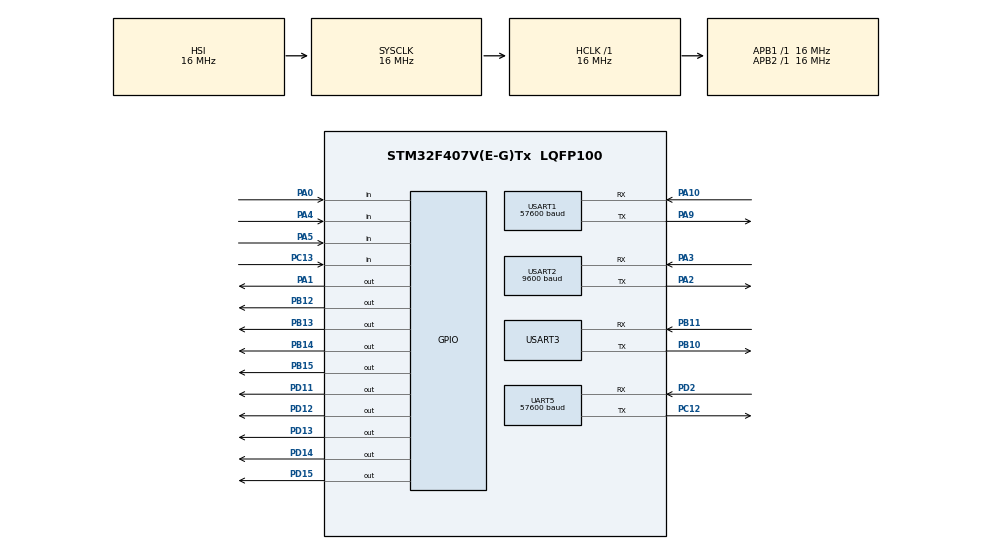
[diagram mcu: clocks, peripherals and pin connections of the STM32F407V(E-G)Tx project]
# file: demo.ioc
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Mcu.Family=STM32F4
Mcu.Name=STM32F407V(E-G)Tx
Mcu.Package=LQFP100
NVIC.PriorityGroup=NVIC_PRIORITYGROUP_4
NVIC.UART5_IRQn=true\:0\:0\:false\:false\:true\:true\:true\:true
NVIC.USART1_IRQn=true\:0\:0\:false\:false\:true\:true\:true\:true
NVIC.USART2_IRQn=true\:0\:0\:false\:false\:true\:true\:true\:true
NVIC.USART3_IRQn=true\:0\:0\:false\:false\:true\:true\:true\:true
PA0-WKUP.Signal=GPIO_Input
PA1.Signal=GPIO_Output
PA10.Mode=Asynchronous
PA10.Signal=USART1_RX
PA13.Mode=Serial_Wire
PA13.Signal=SYS_JTMS-SWDIO
PA14.Mode=Serial_Wire
PA14.Signal=SYS_JTCK-SWCLK
PA2.Mode=Asynchronous
PA2.Signal=USART2_TX
PA3.Mode=Asynchronous
PA3.Signal=USART2_RX
PA4.Signal=GPIO_Input
PA5.Signal=GPIO_Input
PA9.Mode=Asynchronous
PA9.Signal=USART1_TX
PB10.Mode=Asynchronous
PB10.Signal=USART3_TX
PB11.Mode=Asynchronous
PB11.Signal=USART3_RX
PB12.Signal=GPIO_Output
PB13.Signal=GPIO_Output
PB14.Signal=GPIO_Output
PB15.Signal=GPIO_Output
PC12.Mode=Asynchronous
PC12.Signal=UART5_TX
PC13-ANTI_TAMP.Signal=GPIO_Input
PC14-OSC32_IN.Mode=LSE-External-Oscillator
PC14-OSC32_IN.Signal=RCC_OSC32_IN
PC15-OSC32_OUT.Mode=LSE-External-Oscillator
PC15-OSC32_OUT.Signal=RCC_OSC32_OUT
PD11.Signal=GPIO_Output
PD12.Signal=GPIO_Output
PD13.Signal=GPIO_Output
PD14.Signal=GPIO_Output
PD15.Signal=GPIO_Output
PD2.Mode=Asynchronous
PD2.Signal=UART5_RX
PH0-OSC_IN.Mode=HSE-External-Oscillator
PH0-OSC_IN.Signal=RCC_OSC_IN
PH1-OSC_OUT.Mode=HSE-External-Oscillator
PH1-OSC_OUT.Signal=RCC_OSC_OUT
ProjectManager.HeapSize=0x200
ProjectManager.StackSize=0x400
ProjectManager.TargetToolchain=STM32CubeIDE
RCC.AHBFreq_Value=16000000
RCC.APB1Freq_Value=16000000
RCC.APB2Freq_Value=16000000
RCC.CortexFreq_Value=16000000
RCC.HSE_VALUE=25000000
RCC.HSI_VALUE=16000000
RCC.SYSCLKFreq_VALUE=16000000
RCC.VCOOutputFreq_Value=192000000
UART5.BaudRate=57600
UART5.VirtualMode=Asynchronous
USART1.BaudRate=57600
USART1.VirtualMode=VM_ASYNC
USART2.BaudRate=9600
USART2.VirtualMode=VM_ASYNC
USART3.VirtualMode=VM_ASYNC
board=custom

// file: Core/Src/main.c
/* USER CODE BEGIN Header */
/**
  ******************************************************************************
  * @file           : main.c
  * @brief          : Main program body
  ******************************************************************************
  * @attention
  *
  * Copyright (c) 2024 STMicroelectronics.
  * All rights reserved.
  *
  * This software is licensed under terms that can be found in the LICENSE file
  * in the root directory of this software component.
  * If no LICENSE file comes with this software, it is provided AS-IS.
  *
  ******************************************************************************
  */
/* USER CODE END Header */
#include "main.h"

/* USER CODE BEGIN Includes */
#include "stdlib.h"
#include "lcd.h"
#include "string.h"
/* USER CODE END Includes */

/* USER CODE BEGIN PD */
 #define FP_OK 0x00
 #define FP_ERROR 0xFE
 #define FP_NOFINGER 0x02
 #define FP_FINGER_NOTMATCH 0x0A
 #define FP_FINGER_NOTMATCH 0x0A
 #define FP_FINGER_NOTFOUND 0x09

// Định nghĩa chân kết nối ESP32
#define ESP32_TX_PIN GPIO_PIN_10
#define ESP32_TX_PORT GPIOB

#define ESP32_RX_PIN GPIO_PIN_11
#define ESP32_RX_PORT GPIOB

/* USER CODE END PD */

UART_HandleTypeDef huart5;
UART_HandleTypeDef huart1;
UART_HandleTypeDef huart2;
UART_HandleTypeDef huart3; // UART cho ESP32

/* USER CODE BEGIN PV */
uint8_t FPHeader[6]={0xEF,0x01,0xFF,0xFF,0xFF,0xFF};
uint8_t FPGetImage[6]={0x01,0x00,0x03,0x01,0x00,0x05};
uint8_t FPCreateCharFile1[7]={0x01,0x00,0x04,0x02,0x01,0x00,0x08};
uint8_t FPCreateCharFile2[7]={0x01,0x00,0x04,0x02,0x02,0x00,0x09};
uint8_t FPCreateTemplate[6]={0x01,0x00,0x03,0x05,0x00,0x09};
uint8_t FPDeleteAllFinger[6]={0x01,0x00,0x03,0x0D,0x00,0x11};
uint8_t FPSearchFinger[11]={0x01,0x00,0x08,0x04,0x01,0x00,0x00,0x00,0x40,0x00,0x4E};
uint8_t FPGetNumberOfFinger[6]={0x01,0x00,0x03,0x1D,0x00,0x21};

uint8_t IDFromFinger;
uint8_t CurrentNumberFinger;
/* USER CODE END PV */

void SystemClock_Config(void);
static void MX_GPIO_Init(void);
static void MX_USART1_UART_Init(void);
static void MX_UART5_Init(void);
static void MX_USART2_UART_Init(void);
static void MX_USART3_UART_Init(void);

/* USER CODE BEGIN 0 */
void SendFPHeader()
{
	HAL_UART_Transmit(&huart5,FPHeader,6,1000);
}

void SendFPGetImage()
{
	 HAL_UART_Transmit(&huart5,FPGetImage,6,1000);
}

void SendFPCreateCharFile1()
{
	HAL_UART_Transmit(&huart5,FPCreateCharFile1,7,1000);
}

void SendFPCreateCharFile2()
{
	HAL_UART_Transmit(&huart5,FPCreateCharFile2,7,1000);
}

void SendFPCreateTemplate()
{
	HAL_UART_Transmit(&huart5,FPCreateTemplate,6,1000);
}

void SendFPDeleteAllFinger()
{
	HAL_UART_Transmit(&huart5,FPDeleteAllFinger,6,1000);
}

void SendFPDSearchFinger()
{
	HAL_UART_Transmit(&huart5,FPSearchFinger,11,1000);
}

void SendFGetNumberOfFinger()
{
	HAL_UART_Transmit(&huart5,FPGetNumberOfFinger,6,1000);
}

void SendStoreFinger(uint16_t IDStore)
{
	uint16_t Sum=0;
	uint8_t DataSend[9]={0};

	DataSend[0]=0x01;
	Sum=Sum+DataSend[0];
	DataSend[1]=0x00;
	Sum=Sum+DataSend[1];
	DataSend[2]=0x06;
	Sum=Sum+DataSend[2];
	DataSend[3]=0x06;
	Sum=Sum+DataSend[3];
	DataSend[4]=0x01;
	Sum=Sum+DataSend[4];
	DataSend[5]= (uint8_t)(IDStore>> 8);
	Sum=Sum+DataSend[5];
	DataSend[6]=(uint8_t) (IDStore&0xFF);
	Sum=Sum+DataSend[6];
	DataSend[7]=(uint8_t)(Sum>> 8);
	DataSend[8]=(uint8_t)(Sum&0xFF);
	HAL_UART_Transmit(&huart5,DataSend,9,1000);
}

void SendDeleteFinger(uint16_t IDDelete)
{
	uint16_t Sum=0;
	uint8_t DataSend[10]={0};

	DataSend[0]=0x01;
	Sum=Sum+DataSend[0];
	DataSend[1]=0x00;
	Sum=Sum+DataSend[1];
	DataSend[2]=0x07;
	Sum=Sum+DataSend[2];
	DataSend[3]=0x0C;
	Sum=Sum+DataSend[3];
	DataSend[4]=(uint8_t)(IDDelete>> 8);
	Sum=Sum+DataSend[4];
	DataSend[5]= (uint8_t) (IDDelete&0xFF);
	Sum=Sum+DataSend[5];
	DataSend[6]=0x00;
	Sum=Sum+DataSend[6];
	DataSend[7]=0x001;
	Sum=Sum+DataSend[7];
  DataSend[8]=(uint8_t)(Sum>> 8);
	DataSend[9]=(uint8_t)(Sum&0xFF);
	HAL_UART_Transmit(&huart5,DataSend,10,1000);
}

uint8_t CheckFPRespsone(uint8_t MaxRead)
{
	uint8_t ByteCount=0;
	uint8_t FPRXData[20]={0xFF};
	uint8_t UARTData[1]={0};
	uint32_t TimeOut = HAL_GetTick();
	uint8_t Result;
	IDFromFinger=0xFF;
	while((HAL_GetTick() - TimeOut < 1000) && ByteCount<MaxRead) // time out is 1000 ms
	{
	    if(HAL_UART_Receive(&huart5, (uint8_t *)UARTData, 1, 1000) == HAL_OK)
			{
				FPRXData[ByteCount] = UARTData[0];
				ByteCount++;
			}
	}

	if(ByteCount==0)
	{
		//FPRXData[0]=0xEE;
		//FPRXData[1]=0xEE;
		//HAL_UART_Transmit(&huart2,FPRXData,2,1000);
		Result=FP_ERROR;
		return Result;
	}
	else if(ByteCount<MaxRead)
	{
		Result=FP_ERROR;
		return Result;
	}
	  else // vail data return
	{

		 Result=FPRXData[9];
		 IDFromFinger=FPRXData[11];
	   //HAL_UART_Transmit(&huart2,FPRXData,MaxRead,1000);
		 return Result;

	}
}

uint8_t GetNumberOfFinger()
{
	uint8_t Result;
	SendFPHeader();
	SendFGetNumberOfFinger();
	Result=CheckFPRespsone(14);
	if(Result!=FP_OK) return 0xFF;

	return IDFromFinger;
}

uint8_t RegistryNewFinger(uint16_t LocationID)
{

	uint8_t Result=FP_NOFINGER;
	uint32_t TimeOut = HAL_GetTick();

	LCD_SetPos(0,1);
	LCD_String("HAY DAT NGON TAY");

	while(Result==FP_NOFINGER&&(HAL_GetTick() - TimeOut < 5000)) // time out is 5000 ms
	{

		SendFPHeader();
		SendFPGetImage();
		Result=CheckFPRespsone(12);
	}
	if(Result!=FP_OK) return FP_ERROR;
	// continue if detect finger;
	SendFPHeader();
	SendFPCreateCharFile1();
	Result=CheckFPRespsone(12);
	if(Result!=FP_OK) return FP_ERROR;

	LCD_SetPos(0,1);
	LCD_String(" HAY BO TAY RA  ");

	HAL_Delay(2000);
	Result=FP_NOFINGER;
	TimeOut = HAL_GetTick();
	LCD_SetPos(0,1);
	LCD_String("DAT LAI NGON TAY");

	while(Result==FP_NOFINGER&&(HAL_GetTick() - TimeOut < 5000)) // time out is 5000 ms
	{

		SendFPHeader();
		SendFPGetImage();
		Result=CheckFPRespsone(12);
	}
	if(Result!=FP_OK) return FP_ERROR;

	// continue if detect finger;
	SendFPHeader();
	SendFPCreateCharFile2();
	Result=CheckFPRespsone(12);
	if(Result!=FP_OK) return FP_ERROR;

	// Compare finger, create template
	SendFPHeader();
	SendFPCreateTemplate();
	Result=CheckFPRespsone(12);
	if(Result==FP_FINGER_NOTMATCH)
	{

		return FP_FINGER_NOTMATCH;
	}
	else if(Result!=FP_OK) return FP_ERROR;

	// save finger
	SendFPHeader();
	SendStoreFinger(LocationID);
	Result=CheckFPRespsone(12);
	if(Result!=FP_OK) return FP_ERROR;
	else
	{
		return FP_OK;
	}

}

uint8_t CheckFinger()
{
	uint8_t Result=FP_NOFINGER;
	uint32_t TimeOut = HAL_GetTick();

	while(Result==FP_NOFINGER&&(HAL_GetTick() - TimeOut < 5000)&&HAL_GPIO_ReadPin(GPIOA,GPIO_PIN_0)==0) // time out is 5000 ms and no button press
	{

		SendFPHeader();
		SendFPGetImage();
		Result=CheckFPRespsone(12);
	}
	if(Result==FP_NOFINGER)
	{

		return FP_NOFINGER;
	}
	if(Result!=FP_OK) return FP_ERROR;
	// continue if detect finger;
	SendFPHeader();
	SendFPCreateCharFile1();
	Result=CheckFPRespsone(12);
	if(Result!=FP_OK) return FP_ERROR;

	// Search Fingger
	SendFPHeader();
	SendFPDSearchFinger();
	Result=CheckFPRespsone(16);
	return Result;

}

uint8_t ProcessRegistryNewFinger()
{
  uint8_t FingerResult;
  LCD_SetPos(0,1);
  LCD_String("DANG KY VAN TAY ");

  HAL_Delay(1000);
  FingerResult=RegistryNewFinger(CurrentNumberFinger+1);
	if(FingerResult==FP_OK)
	{
		LCD_SetPos(0,1);
		LCD_String("DANG KY T.CONG  ");
		HAL_Delay(1000);
		LCD_SetPos(0,1);
		LCD_String("                ");
		CurrentNumberFinger++;
		if(CurrentNumberFinger==100) CurrentNumberFinger=1;
		HAL_Delay(1500);
	}
	else if(FingerResult==FP_FINGER_NOTMATCH)
	{
		LCD_SetPos(0,1);
		LCD_String("2 VT KHONG KHOP ");
		HAL_Delay(1000);
		LCD_SetPos(0,1);
		LCD_String("                ");
	}
	else
	{
		LCD_SetPos(0,1);
		LCD_String(" CO LOI XAY RA  ");
		HAL_Delay(1000);
		LCD_SetPos(0,1);
		LCD_String("                ");

	}
	return FingerResult;

}

void DeleteAllFinger()
{

	uint8_t FingerResult;
	SendFPHeader();
	SendFPDeleteAllFinger();
	FingerResult=CheckFPRespsone(12);
	if(FingerResult==FP_OK)
	{
		LCD_SetPos(0,1);
		LCD_String(" DA XOA VAN TAY ");
		HAL_Delay(1500);
		LCD_SetPos(0,1);
		LCD_String("                ");
		CurrentNumberFinger=0;
	}
	else
	{
		LCD_SetPos(0,1);
		LCD_String(" CO LOI XAY RA  ");
		HAL_Delay(1500);
		LCD_SetPos(0,1);
		LCD_String("                ");
	}

}

void Delay_us(uint32_t TimeDelay)
{
	uint32_t TimeCount;
	for(TimeCount=0;TimeCount<TimeDelay;TimeCount++)
	{
		__ASM volatile ("NOP");
		__ASM volatile ("NOP");
		__ASM volatile ("NOP");
	}
}

void CloseDoor()
{
	  HAL_GPIO_WritePin(GPIOD,GPIO_PIN_11,GPIO_PIN_SET);
	  Delay_us(1000);
	  HAL_GPIO_WritePin(GPIOD,GPIO_PIN_11,GPIO_PIN_RESET);
}

void OpenDoor()
{
	  HAL_GPIO_WritePin(GPIOD,GPIO_PIN_11,GPIO_PIN_SET);
	  Delay_us(2100);
	  HAL_GPIO_WritePin(GPIOD,GPIO_PIN_11,GPIO_PIN_RESET);
}

void DisplayMessage(char *message)
{
    // Hiển thị thông điệp trên LCD
    LCD_SetPos(0, 1);
    LCD_String(message);
    HAL_Delay(2000);
}

void SendDataToCloud(char *data)
{
    if (HAL_UART_Transmit(&huart3, (uint8_t *)data, strlen(data), 1000) != HAL_OK)
    {
        DisplayMessage("Data Error");
    }
    // Thêm thời gian trễ nếu cần
    HAL_Delay(100);  // Thời gian trễ 100ms
}

uint8_t ReceiveDataFromESP32(uint8_t *buffer, uint16_t size)
{
    if (HAL_UART_Receive(&huart3, buffer, size, 1000) == HAL_OK)
    {
        return 1; // Nhận dữ liệu thành công
    }
    return 0; // Nhận dữ liệu thất bại
}

/* USER CODE END 0 */

int main(void)
{

  /* USER CODE BEGIN 1 */
	  uint8_t FingerResult;
	  uint32_t TimeCount;
  /* USER CODE END 1 */

  /* MCU Configuration--------------------------------------------------------*/

  /* Reset of all peripherals, Initializes the Flash interface and the Systick. */
  HAL_Init();

  /* Configure the system clock */
  SystemClock_Config();

  /* Initialize all configured peripherals */
  MX_GPIO_Init();
  MX_USART1_UART_Init();
  MX_UART5_Init();
  MX_USART2_UART_Init();
  MX_USART3_UART_Init();
  /* USER CODE BEGIN 2 */
  LCD_Init();
  LCD_SetPos(0,0);
  LCD_String("  HT VAN TAY");

  HAL_Delay(1000);
  OpenDoor(); // need to active motor
    HAL_Delay(500);
    CloseDoor();
    HAL_Delay(500);
    OpenDoor();
    HAL_Delay(500);
    CloseDoor();
    CurrentNumberFinger=GetNumberOfFinger();
    if(CurrentNumberFinger>100)
    {
  	CurrentNumberFinger=1;
    }

  	 LCD_SetPos(0,1);
  	 LCD_String("   SANG SANG    ");
  /* USER CODE END 2 */

  /* Infinite loop */
  while (1)
  {

    /* USER CODE BEGIN 3 */
	  FingerResult=CheckFinger();
	      if(FingerResult==FP_OK)
	  	{

	  		OpenDoor();
	  		LCD_SetPos(0,1);
	  		LCD_String("   DANG MO CUA ");

	  		HAL_Delay(3000);
	  		CloseDoor();
	  		LCD_SetPos(0,1);
	  		LCD_String("               ");
	  	}
	  	else if(FingerResult==FP_FINGER_NOTFOUND)
	  	{
	  		LCD_SetPos(0,1);
	  		LCD_String("VT KHONG HOP LE");
	  		HAL_Delay(1000);
	  		LCD_SetPos(0,1);
	  		LCD_String("               ");
	  	}

	  	if(HAL_GPIO_ReadPin(GPIOA,GPIO_PIN_0)==1)
	  	{
	  		TimeCount = HAL_GetTick();
	  		while(HAL_GetTick()-TimeCount<3000&&HAL_GPIO_ReadPin(GPIOA,GPIO_PIN_0)==1) // check hold button in 3 second to erase
	  		{}
	  		if(HAL_GPIO_ReadPin(GPIOA,GPIO_PIN_0)==1) // still hold button
	  		{
	  			DeleteAllFinger();
	  		}
	  		else
	  		{
	  			FingerResult=ProcessRegistryNewFinger();
	  		}

	  	}
	  	HAL_Delay(100);

  }
  /* USER CODE END 3 */
}

void SystemClock_Config(void)
{
  RCC_OscInitTypeDef RCC_OscInitStruct = {0};
  RCC_ClkInitTypeDef RCC_ClkInitStruct = {0};

  /** Configure the main internal regulator output voltage
  */
  __HAL_RCC_PWR_CLK_ENABLE();
  __HAL_PWR_VOLTAGESCALING_CONFIG(PWR_REGULATOR_VOLTAGE_SCALE1);

  /** Initializes the RCC Oscillators according to the specified parameters
  * in the RCC_OscInitTypeDef structure.
  */
  RCC_OscInitStruct.OscillatorType = RCC_OSCILLATORTYPE_HSI;
  RCC_OscInitStruct.HSIState = RCC_HSI_ON;
  RCC_OscInitStruct.HSICalibrationValue = RCC_HSICALIBRATION_DEFAULT;
  RCC_OscInitStruct.PLL.PLLState = RCC_PLL_NONE;
  if (HAL_RCC_OscConfig(&RCC_OscInitStruct) != HAL_OK)
  {
    Error_Handler();
  }

  /** Initializes the CPU, AHB and APB buses clocks
  */
  RCC_ClkInitStruct.ClockType = RCC_CLOCKTYPE_HCLK|RCC_CLOCKTYPE_SYSCLK
                              |RCC_CLOCKTYPE_PCLK1|RCC_CLOCKTYPE_PCLK2;
  RCC_ClkInitStruct.SYSCLKSource = RCC_SYSCLKSOURCE_HSI;
  RCC_ClkInitStruct.AHBCLKDivider = RCC_SYSCLK_DIV1;
  RCC_ClkInitStruct.APB1CLKDivider = RCC_HCLK_DIV1;
  RCC_ClkInitStruct.APB2CLKDivider = RCC_HCLK_DIV1;

  if (HAL_RCC_ClockConfig(&RCC_ClkInitStruct, FLASH_LATENCY_0) != HAL_OK)
  {
    Error_Handler();
  }
}

static void MX_UART5_Init(void)
{

  huart5.Instance = UART5;
  huart5.Init.BaudRate = 57600;
  huart5.Init.WordLength = UART_WORDLENGTH_8B;
  huart5.Init.StopBits = UART_STOPBITS_1;
  huart5.Init.Parity = UART_PARITY_NONE;
  huart5.Init.Mode = UART_MODE_TX_RX;
  huart5.Init.HwFlowCtl = UART_HWCONTROL_NONE;
  huart5.Init.OverSampling = UART_OVERSAMPLING_16;
  if (HAL_UART_Init(&huart5) != HAL_OK)
  {
    Error_Handler();
  }

}

static void MX_USART1_UART_Init(void)
{

  huart1.Instance = USART1;
  huart1.Init.BaudRate = 57600;
  huart1.Init.WordLength = UART_WORDLENGTH_8B;
  huart1.Init.StopBits = UART_STOPBITS_1;
  huart1.Init.Parity = UART_PARITY_NONE;
  huart1.Init.Mode = UART_MODE_TX_RX;
  huart1.Init.HwFlowCtl = UART_HWCONTROL_NONE;
  huart1.Init.OverSampling = UART_OVERSAMPLING_16;
  if (HAL_UART_Init(&huart1) != HAL_OK)
  {
    Error_Handler();
  }

}

static void MX_USART2_UART_Init(void)
{

  huart2.Instance = USART2;
  huart2.Init.BaudRate = 9600;
  huart2.Init.WordLength = UART_WORDLENGTH_8B;
  huart2.Init.StopBits = UART_STOPBITS_1;
  huart2.Init.Parity = UART_PARITY_NONE;
  huart2.Init.Mode = UART_MODE_TX_RX;
  huart2.Init.HwFlowCtl = UART_HWCONTROL_NONE;
  huart2.Init.OverSampling = UART_OVERSAMPLING_16;
  if (HAL_UART_Init(&huart2) != HAL_OK)
  {
    Error_Handler();
  }

}

static void MX_USART3_UART_Init(void)
{

  huart3.Instance = USART3;
  huart3.Init.BaudRate = 115200;
  huart3.Init.WordLength = UART_WORDLENGTH_8B;
  huart3.Init.StopBits = UART_STOPBITS_1;
  huart3.Init.Parity = UART_PARITY_NONE;
  huart3.Init.Mode = UART_MODE_TX_RX;
  huart3.Init.HwFlowCtl = UART_HWCONTROL_NONE;
  huart3.Init.OverSampling = UART_OVERSAMPLING_16;
  if (HAL_UART_Init(&huart3) != HAL_OK)
  {
    Error_Handler();
  }

}

static void MX_GPIO_Init(void)
{
  GPIO_InitTypeDef GPIO_InitStruct = {0};

  /* GPIO Ports Clock Enable */
  __HAL_RCC_GPIOC_CLK_ENABLE();
  __HAL_RCC_GPIOH_CLK_ENABLE();
  __HAL_RCC_GPIOA_CLK_ENABLE();
  __HAL_RCC_GPIOB_CLK_ENABLE();
  __HAL_RCC_GPIOD_CLK_ENABLE();

  /*Configure GPIO pin Output Level */
  HAL_GPIO_WritePin(GPIOA, GPIO_PIN_1, GPIO_PIN_RESET);

  /*Configure GPIO pin Output Level */
  HAL_GPIO_WritePin(GPIOB, GPIO_PIN_12|GPIO_PIN_13|GPIO_PIN_14|GPIO_PIN_15, GPIO_PIN_RESET);

  /*Configure GPIO pin Output Level */
  HAL_GPIO_WritePin(GPIOD, GPIO_PIN_11|GPIO_PIN_12|GPIO_PIN_13|GPIO_PIN_14
                          |GPIO_PIN_15, GPIO_PIN_RESET);

  /*Configure GPIO pin : PC13 */
  GPIO_InitStruct.Pin = GPIO_PIN_13;
  GPIO_InitStruct.Mode = GPIO_MODE_INPUT;
  GPIO_InitStruct.Pull = GPIO_NOPULL;
  HAL_GPIO_Init(GPIOC, &GPIO_InitStruct);

  /*Configure GPIO pins : PA0 PA4 PA5 */
  GPIO_InitStruct.Pin = GPIO_PIN_0|GPIO_PIN_4|GPIO_PIN_5;
  GPIO_InitStruct.Mode = GPIO_MODE_INPUT;
  GPIO_InitStruct.Pull = GPIO_NOPULL;
  HAL_GPIO_Init(GPIOA, &GPIO_InitStruct);

  /*Configure GPIO pin : PA1 */
  GPIO_InitStruct.Pin = GPIO_PIN_1;
  GPIO_InitStruct.Mode = GPIO_MODE_OUTPUT_PP;
  GPIO_InitStruct.Pull = GPIO_NOPULL;
  GPIO_InitStruct.Speed = GPIO_SPEED_FREQ_LOW;
  HAL_GPIO_Init(GPIOA, &GPIO_InitStruct);

  /*Configure GPIO pins : PB12 PB13 PB14 PB15 */
  GPIO_InitStruct.Pin = GPIO_PIN_12|GPIO_PIN_13|GPIO_PIN_14|GPIO_PIN_15;
  GPIO_InitStruct.Mode = GPIO_MODE_OUTPUT_PP;
  GPIO_InitStruct.Pull = GPIO_NOPULL;
  GPIO_InitStruct.Speed = GPIO_SPEED_FREQ_LOW;
  HAL_GPIO_Init(GPIOB, &GPIO_InitStruct);

  /*Configure GPIO pins : PD11 PD12 PD13 PD14
                           PD15 */
  GPIO_InitStruct.Pin = GPIO_PIN_11|GPIO_PIN_12|GPIO_PIN_13|GPIO_PIN_14
                          |GPIO_PIN_15;
  GPIO_InitStruct.Mode = GPIO_MODE_OUTPUT_PP;
  GPIO_InitStruct.Pull = GPIO_NOPULL;
  GPIO_InitStruct.Speed = GPIO_SPEED_FREQ_LOW;
  HAL_GPIO_Init(GPIOD, &GPIO_InitStruct);

}

void Error_Handler(void)
{
  __disable_irq();
  while (1)
  {
  }
}
